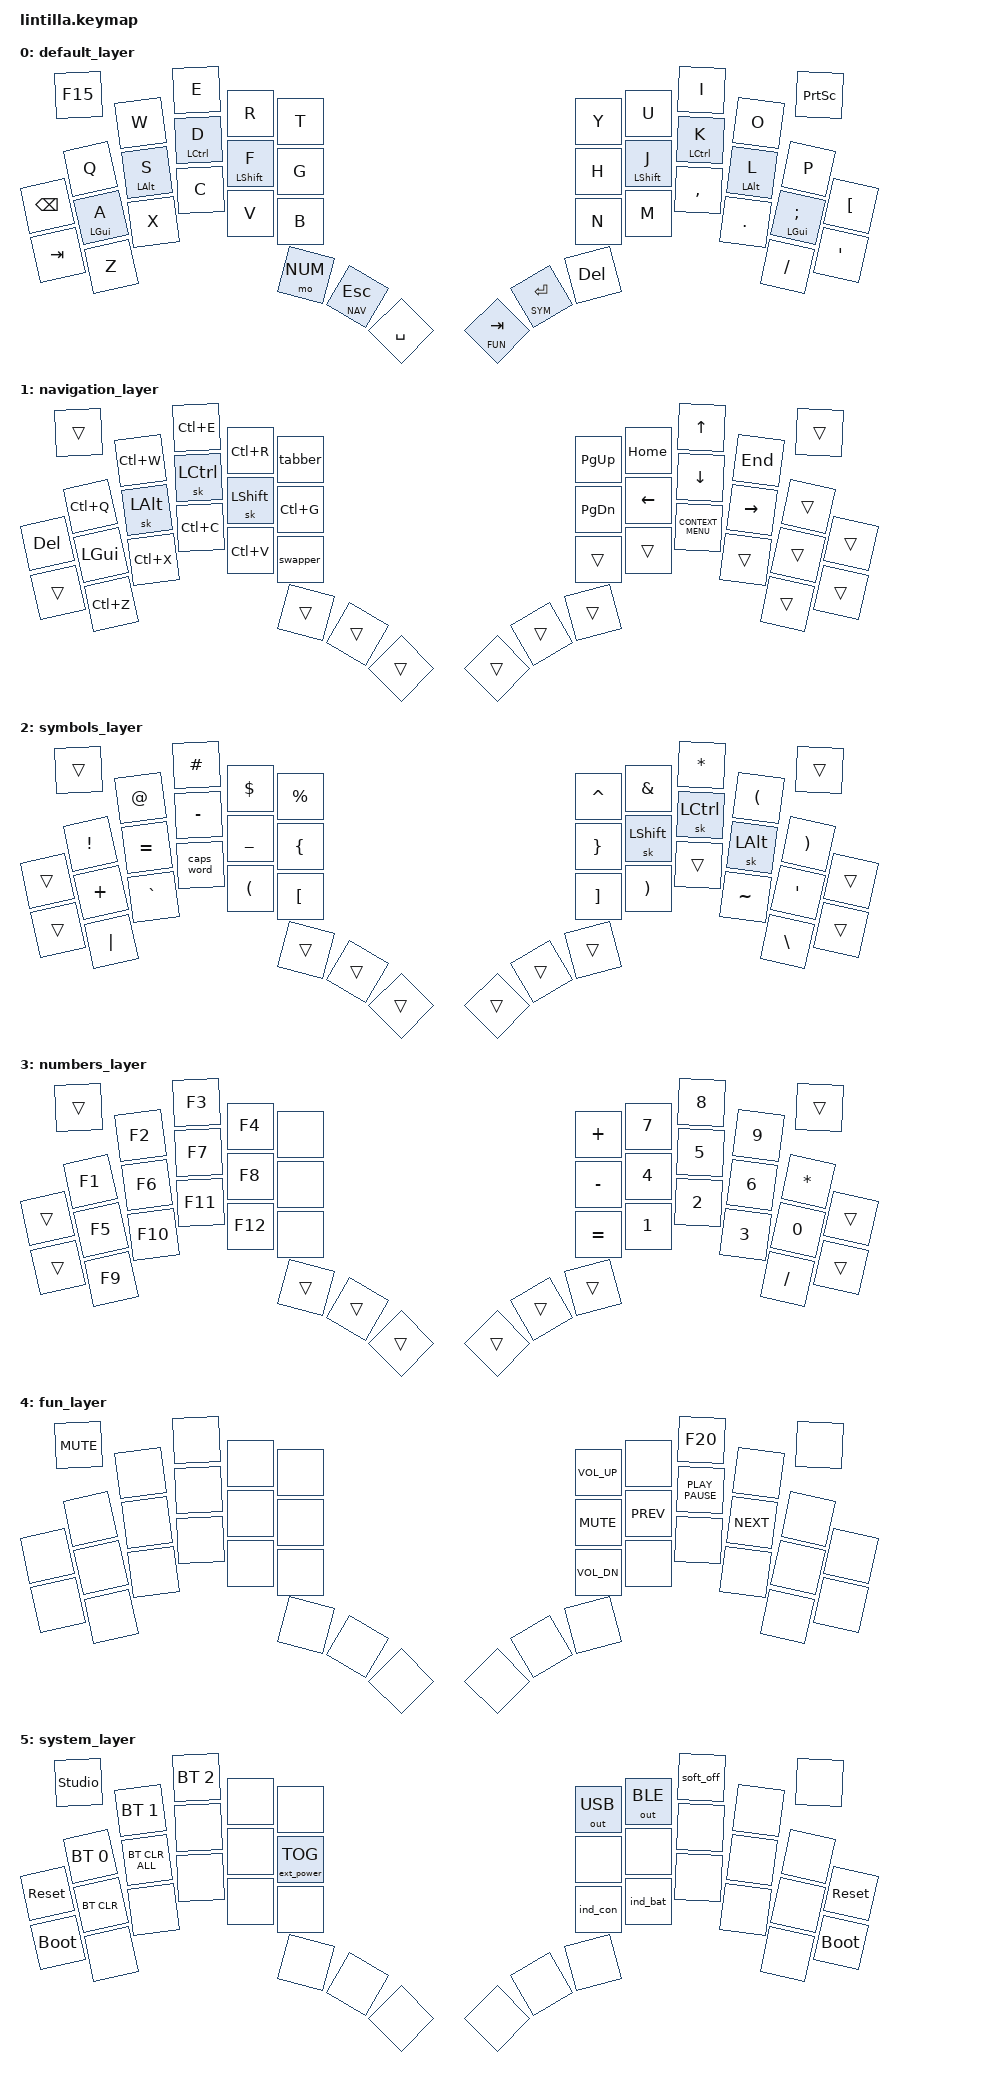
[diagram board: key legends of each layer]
#include <behaviors.dtsi>
#include <dt-bindings/zmk/bt.h>
#include <dt-bindings/zmk/keys.h>
#include <dt-bindings/zmk/outputs.h>
#include <dt-bindings/zmk/ext_power.h>
#include <behaviors/rgbled_widget.dtsi>

//     0                             1
//  2  3  4  5  6  7     8  9 10 11 12 13
// 14 15 16 17 18 19    20 21 22 23 24 25
//    26 27 28 29 30    31 32 33 34 35
//          36 37 38    39 40 41
#define LEFT_KEYS 0 2 3 4 5 6 7 14 15 16 17 18 19 26 27 28 29 30
#define LEFT_THUMBS 36 37 38
#define RIGHT_KEYS 8 9 10 11 12 13 20 21 22 23 24 25 31 32 33 34 35
#define RIGHT_THUMBS 39 40 41

#define DEF 0
#define NAV 1
#define SYM 2
#define NUM 3
#define FUN 4
#define SYS 5

/ {
    conditional_layers {
        compatible = "zmk,conditional-layers";

        sys_layer {
            if-layers = <NAV SYM>;
            then-layer = <SYS>;
        };
    };
};

/ {
    combos { compatible = "zmk,combos"; };

    behaviors {
        hml: home_row_mod_left {
            compatible = "zmk,behavior-hold-tap";
            label = "HRM Left";
            #binding-cells = <2>;
            flavor = "balanced"; //produces a "hold" if another key is both pressed and released within the tapping-term.
            require-prior-idle-ms = <150>; // immediately resolves a HRM as "tap" when it is pressed shortly after another key has been tapped.
            tapping-term-ms = <280>; //how long a key must be pressed to trigger the "hold" behavior
            quick-tap-ms = <175>; //If you press a tapped hold-tap again within quick-tap-ms milliseconds of the first press, it will always trigger the tap behavior.
            bindings = <&kp>, <&kp>;
            hold-trigger-key-positions = <RIGHT_KEYS RIGHT_THUMBS>; // List of keys on the right side of the keyboard
            hold-trigger-on-release; //delays the positional-hold-tap decision until the next key's release. With this, mods can be combined when held
        };
        hmr: home_row_mod_right {
            compatible = "zmk,behavior-hold-tap";
            label = "HRM Right";
            #binding-cells = <2>;
            flavor = "balanced";
            require-prior-idle-ms = <150>;
            tapping-term-ms = <280>;
            quick-tap-ms = <175>;
            bindings = <&kp>, <&kp>;
            hold-trigger-key-positions = <LEFT_KEYS LEFT_THUMBS>; // List of keys on the left side of the keyboard
            hold-trigger-on-release;
        };
        swapper: swapper {
            compatible = "zmk,behavior-tri-state";
            label = "SWAPPER";
            #binding-cells = <0>;
            bindings = <&kt LALT>, <&kp TAB>, <&kt LALT>;
            ignored-key-positions = <7 13 16 17 18>;
        };
        tabber: tabber {
            compatible = "zmk,behavior-tri-state";
            label = "TABBER";
            #binding-cells = <0>;
            bindings = <&kt LCTRL>, <&kp TAB>, <&kt LCTRL>;
            ignored-key-positions = <7 13 16 17 18>;
        };
    };

    keymap {
        compatible = "zmk,keymap";

        default_layer {
            bindings = <
                          &kp F15                                                                                                                                  &kp PSCRN
&kp BSPC    &kp Q         &kp W        &kp E            &kp R              &kp T               /* | */        &kp Y          &kp U              &kp I              &kp O             &kp P             &kp LBKT
&kp TAB     &hml LGUI A   &hml LALT S  &hml LCTRL D     &hml LSHIFT F      &kp G               /* | */        &kp H          &hmr LSHIFT J      &hmr LCTRL K       &hmr LALT L       &hmr LGUI SEMI    &kp SQT
            &kp Z         &kp X        &kp C            &kp V              &kp B               /* | */        &kp N          &kp M              &kp COMMA          &kp DOT           &kp SLASH
                                        /* - - - - - - - - - - - - - - - - - - - - - - - - - - - - - - - - - - - - - - - - - - - - - - - - - - - - - - */
                                       &mo NUM          &lt NAV ESC        &kp SPACE           /* | */        &lt FUN TAB    &lt SYM ENTER      &kp DEL
            >;
        };

        navigation_layer {
            bindings = <
                          &trans                                                                                                                                   &trans
&kp DEL     &kp LC(Q)     &kp LC(W)     &kp LC(E)        &kp LC(R)          &tabber            /* | */        &kp PG_UP      &kp HOME           &kp UP             &kp END            &trans          &trans
&trans      &kp LGUI      &sk LALT      &sk LCTRL        &sk LSHIFT         &kp LC(G)          /* | */        &kp PG_DN      &kp LEFT           &kp DOWN           &kp RIGHT          &trans          &trans
            &kp LC(Z)     &kp LC(X)     &kp LC(C)        &kp LC(V)          &swapper           /* | */        &trans         &trans             &kp K_CONTEXT_MENU &trans             &trans
                                        /* - - - - - - - - - - - - - - - - - - - - - - - - - - - - - - - - - - - - - - - - - - - - - - - - - - - - - */
                                        &trans           &trans             &trans             /* | */        &trans         &trans             &trans
            >;
        };

        symbols_layer {
            bindings = <
                          &trans                                                                                                                                   &trans
&trans      &kp EXCL      &kp AT        &kp HASH         &kp DOLLAR         &kp PERCENT        /* | */        &kp CARET      &kp AMPERSAND      &kp STAR           &kp LPAR          &kp RPAR         &trans
&trans      &kp PLUS      &kp EQUAL     &kp MINUS        &kp UNDER          &kp LBRC           /* | */        &kp RBRC       &sk LSHIFT         &sk LCTRL          &sk LALT          &kp SQT          &trans
            &kp PIPE      &kp GRAVE     &caps_word       &kp LPAR           &kp LBKT           /* | */        &kp RBKT       &kp RPAR           &trans             &kp TILDE         &kp BACKSLASH
                                        /* - - - - - - - - - - - - - - -  - - - - - - - - - - - - - - - - - - - - - - - - - - - - - - - - - - - - - - */
                                        &trans           &trans             &trans             /* | */        &trans         &trans             &trans
            >;
        };

        numbers_layer {
            bindings = <
                          &trans                                                                                                                                   &trans
&trans      &kp F1        &kp F2        &kp F3          &kp F4              &none              /* | */        &kp PLUS       &kp N7            &kp N8              &kp N9            &kp STAR        &trans
&trans      &kp F5        &kp F6        &kp F7          &kp F8              &none              /* | */        &kp MINUS      &kp N4            &kp N5              &kp N6            &kp N0          &trans
            &kp F9        &kp F10       &kp F11         &kp F12             &none              /* | */        &kp EQUAL      &kp N1            &kp N2              &kp N3            &kp SLASH
                                        /* - - - - - - - - - - - - - - - - - - - - - - - - - - - - - - - - - - - - - - - - - - - - - - - - - - - - - */
                                        &trans           &trans             &trans             /* | */        &trans         &trans             &trans
            >;
        };

        fun_layer {
            bindings = <
                          &kp K_MUTE                                                                                                                              &none
&none       &none         &none         &none           &none              &none              /* | */        &kp K_VOL_UP    &none             &kp F20 /* mic */  &none              &none           &none
&none       &none         &none         &none           &none              &none              /* | */        &kp K_MUTE      &kp K_PREV        &kp K_PLAY_PAUSE   &kp K_NEXT         &none           &none
            &none         &none         &none           &none              &none              /* | */        &kp K_VOL_DN    &none             &none              &none              &none
                                        /* - - - - - - - - - - - - - - - - - - - - - - - - - - - - - - - - - - - - - - - - - - - - - - - - - - - - - */
                                        &none           &none              &none              /* | */        &none          &none              &none
            >;
        };

        system_layer {
            bindings = <
                          &studio_unlock                                                                                                                           &none
&sys_reset  &bt BT_SEL 0  &bt BT_SEL 1   &bt BT_SEL 2    &none              &none              /* | */        &out OUT_USB   &out OUT_BLE       &soft_off          &none             &none           &sys_reset
&bootloader &bt BT_CLR    &bt BT_CLR_ALL &none           &none              &ext_power EP_TOG  /* | */        &none          &none              &none              &none             &none           &bootloader
            &none         &none          &none           &none              &none              /* | */        &ind_con       &ind_bat           &none              &none             &none
                                        /* - - - - - - - - - - - - - - - - - - - - - - - - - - - - - - - - - - - - - - - - - - - - - - - - - - - - - */
                                         &none           &none              &none              /* | */        &none          &none              &none
            >;
        };
    };
};
